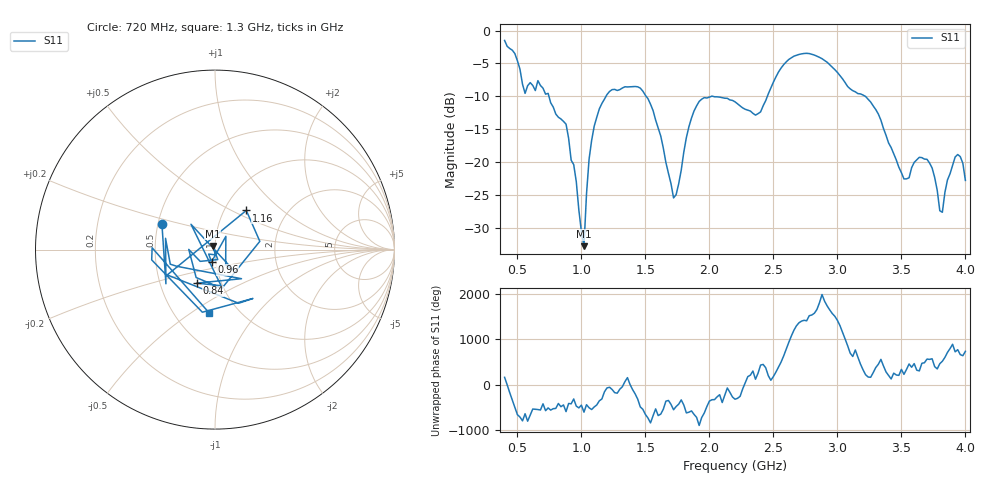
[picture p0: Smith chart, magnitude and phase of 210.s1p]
!Created with skrf (http://scikit-rf.org).
# Hz S RI R 50.0
!freq ReS11 ImS11
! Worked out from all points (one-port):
!   181 points, 400 MHz to 4 GHz, reference 50 ohm
!   lowest |S11| = -32.8 dB at 1.02 GHz (marker M1), VSWR 1.05, Z = 48.8 + j1.91 ohm
!   |S11| at or under -10 dB: 746.3 MHz to 1.192 GHz (445.7 MHz wide, 46 % of centre); 1.506 GHz to 2.015 GHz (508.9 MHz wide, 28.9 % of centre); 3.219 GHz to end of sweep (the widest 3 of 4)
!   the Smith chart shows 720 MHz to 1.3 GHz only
!   S11 on the Smith chart (normalised r, x): 720 MHz: 0.52, +0.17; 840 MHz: 0.76, -0.30; 960 MHz: 0.95, -0.13; 1.16 GHz: 1.26, +0.60; 1.3 GHz: 0.73, -0.60
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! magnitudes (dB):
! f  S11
! 400 MHz  -1.5
! 480 MHz  -3.5
! 560 MHz  -9.5
! 660 MHz  -7.6
! 720 MHz  -9.7
! 840 MHz  -13.4
! 860 MHz  -13.8
! 960 MHz  -23.0
! 1.02 GHz  -32.8
! 1.06 GHz  -19.6
! 1.16 GHz  -11.1
! 1.3 GHz  -9.0
! 1.52 GHz  -10.4
! 1.72 GHz  -25.5
! 1.76 GHz  -23.3
! 1.84 GHz  -14.6
! 1.92 GHz  -10.8
! 2.2 GHz  -10.8
! 2.4 GHz  -12.4
! 2.66 GHz  -3.9
! 2.88 GHz  -4.3
! 3.1 GHz  -8.9
! 3.3 GHz  -12.0
! 3.56 GHz  -22.4
! 3.7 GHz  -19.6
! 3.82 GHz  -27.6
! 3.92 GHz  -19.2
! 4 GHz  -22.8
